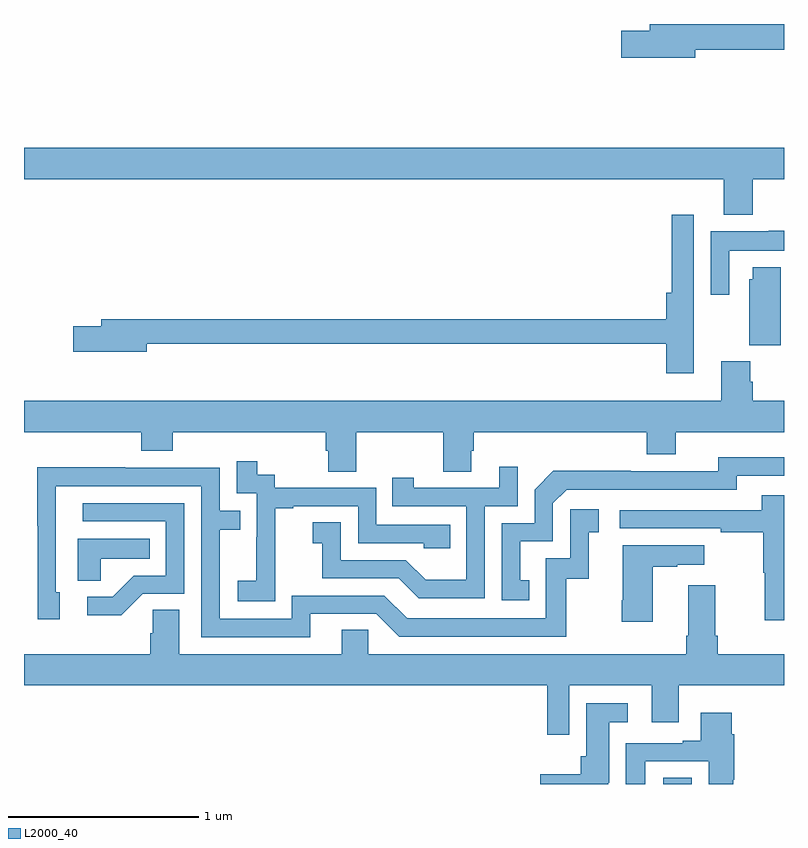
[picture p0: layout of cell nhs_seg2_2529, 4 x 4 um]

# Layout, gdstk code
import gdstk
lib = gdstk.Library(unit=1e-6, precision=1e-09)
def R(c, l, rs):  # rectangles x0, y0, x1, y1
    for r in rs: c.add(gdstk.rectangle(r[:2], r[2:], *l))
def P(c, l, *ps):  # polygons
    for p in ps: c.add(gdstk.Polygon(p, *l))
L2000_40 = (2000, 40)

nhs_seg2_2529 = lib.new_cell('nhs_seg2_2529')
R(nhs_seg2_2529, L2000_40, [(246.365,629.8,246.514,629.834)])
P(nhs_seg2_2529, L2000_40, [(246.532,633.664),(247,633.664),(247,633.8),(246.293,633.8),(246.293,633.764),(246.144,633.764),(246.144,633.622),(246.532,633.622)],
  [(246.836,632.984),(247,632.984),(247,633.148),(243,633.148),(243,632.984),(246.683,632.984),(246.683,632.795),(246.836,632.795)],
  [(246.526,632.223),(246.525,632.223),(246.525,632.797),(246.409,632.797),(246.409,632.386),(246.38,632.386),(246.38,632.246),(243.407,632.246),(243.407,632.21),(243.258,632.21),(243.258,632.075),(243.646,632.075),(243.646,632.118),(246.38,632.118),(246.38,631.962),(246.526,631.962)],
  [(246.711,632.606),(247,632.606),(247,632.713),(246.919,632.713),(246.919,632.71),(246.615,632.71),(246.615,632.376),(246.711,632.376)],
  [(246.982,632.521),(246.836,632.521),(246.836,632.457),(246.818,632.457),(246.818,632.11),(246.982,632.11)],
  [(244.749,631.652),(245.206,631.652),(245.206,631.444),(245.353,631.444),(245.353,631.554),(245.366,631.554),(245.366,631.652),(246.278,631.652),(246.278,631.535),(246.43,631.535),(246.43,631.652),(247,631.652),(247,631.816),(246.836,631.816),(246.836,631.916),(246.823,631.916),(246.823,632.025),(246.671,632.025),(246.671,631.816),(243,631.816),(243,631.652),(243.617,631.652),(243.617,631.553),(243.782,631.553),(243.782,631.652),(244.589,631.652),(244.589,631.554),(244.601,631.554),(244.601,631.444),(244.749,631.444)],
  [(245.66,630.873),(245.611,630.873),(245.611,631.077),(245.784,631.077),(245.784,631.278),(245.856,631.35),(246.75,631.35),(246.75,631.422),(247,631.422),(247,631.519),(246.654,631.519),(246.654,631.446),(246.194,631.446),(246.194,631.448),(245.786,631.448),(245.688,631.35),(245.688,631.173),(245.514,631.173),(245.514,630.768),(245.66,630.768)],
  [(244.323,630.967),(244.322,630.967),(244.322,631.251),(244.417,631.251),(244.417,631.263),(244.758,631.263),(244.758,631.068),(245.103,631.068),(245.103,631.041),(245.243,631.041),(245.243,631.164),(244.854,631.164),(244.854,631.359),(244.32,631.359),(244.32,631.428),(244.228,631.428),(244.228,631.498),(244.119,631.498),(244.119,631.329),(244.224,631.329),(244.224,631.1),(244.223,631.1),(244.223,630.871),(244.125,630.871),(244.125,630.761),(244.323,630.761)],
  [(245.424,631.263),(245.598,631.263),(245.598,631.471),(245.501,631.471),(245.501,631.359),(245.05,631.359),(245.05,631.411),(244.939,631.411),(244.939,631.263),(245.328,631.263),(245.328,630.874),(245.114,630.874),(245.01,630.978),(244.668,630.978),(244.668,631.177),(244.521,631.177),(244.521,631.067),(244.57,631.067),(244.57,630.882),(244.973,630.882),(245.078,630.777),(245.424,630.777)],
  [(244.507,630.696),(244.854,630.696),(244.974,630.576),(245.854,630.576),(245.854,630.879),(245.972,630.879),(245.972,631.125),(246.025,631.125),(246.025,631.246),(245.874,631.246),(245.874,630.987),(245.745,630.987),(245.745,630.672),(245.016,630.672),(244.896,630.792),(244.41,630.792),(244.41,630.669),(244.029,630.669),(244.029,631.138),(244.139,631.138),(244.139,631.239),(244.029,631.239),(244.029,631.464),(243.533,631.464),(243.533,631.466),(243.07,631.466),(243.07,631.159),(243.072,631.159),(243.072,630.666),(243.187,630.666),(243.187,630.81),(243.168,630.81),(243.168,631.368),(243.933,631.368),(243.933,630.573),(244.507,630.573)],
  [(247,631.321),(246.883,631.321),(246.883,631.242),(246.135,631.242),(246.135,631.146),(246.667,631.146),(246.667,631.126),(246.891,631.126),(246.891,630.912),(246.898,630.912),(246.898,630.663),(247,630.663)],
  [(243.624,630.801),(243.843,630.801),(243.843,631.278),(243.309,631.278),(243.309,631.182),(243.747,631.182),(243.747,630.897),(243.578,630.897),(243.467,630.786),(243.333,630.786),(243.333,630.689),(243.511,630.689)],
  [(243.405,630.986),(243.662,630.986),(243.662,631.09),(243.284,631.09),(243.284,630.871),(243.405,630.871)],
  [(246.31,630.943),(246.437,630.943),(246.437,630.953),(246.58,630.953),(246.58,631.057),(246.152,631.057),(246.152,630.766),(246.145,630.766),(246.145,630.654),(246.31,630.654)],
  [(245.871,630.32),(246.305,630.32),(246.305,630.126),(246.445,630.126),(246.445,630.32),(247,630.32),(247,630.484),(246.65,630.484),(246.65,630.58),(246.637,630.58),(246.637,630.847),(246.497,630.847),(246.497,630.58),(246.485,630.58),(246.485,630.484),(244.812,630.484),(244.812,630.611),(244.673,630.611),(244.673,630.484),(243.817,630.484),(243.817,630.716),(243.678,630.716),(243.678,630.593),(243.665,630.593),(243.665,630.484),(243,630.484),(243,630.32),(245.755,630.32),(245.755,630.06),(245.871,630.06)],
  [(246.075,629.806),(246.079,629.806),(246.079,630.125),(246.178,630.125),(246.178,630.226),(245.96,630.226),(245.96,629.946),(245.93,629.946),(245.93,629.851),(245.718,629.851),(245.718,629.8),(246.075,629.8)],
  [(246.271,629.919),(246.605,629.919),(246.605,629.8),(246.732,629.8),(246.732,629.822),(246.737,629.822),(246.737,630.062),(246.724,630.062),(246.724,630.175),(246.563,630.175),(246.563,630.028),(246.467,630.028),(246.467,630.015),(246.167,630.015),(246.167,629.8),(246.271,629.8)])

lib.write_gds('nhs_seg2_2529.gds')
